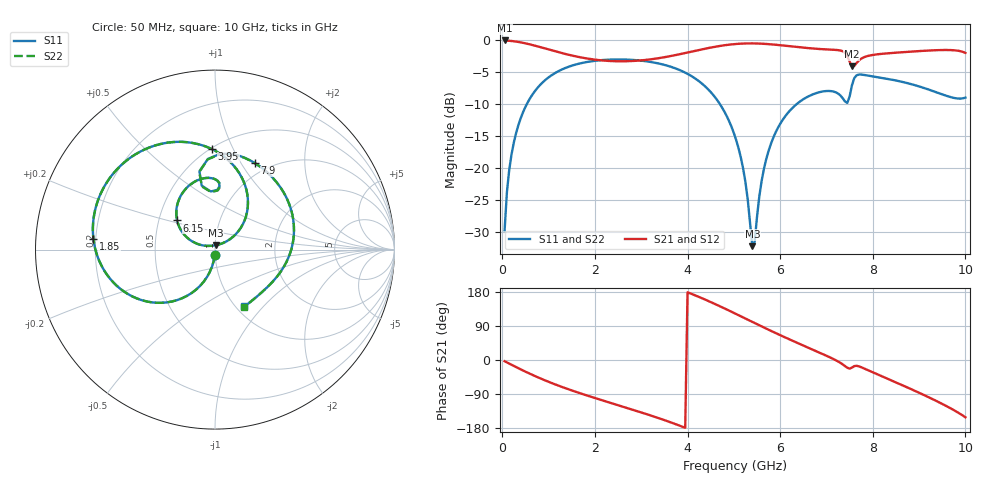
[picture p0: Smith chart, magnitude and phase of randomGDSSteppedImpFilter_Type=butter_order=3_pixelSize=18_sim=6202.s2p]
! freq	dB(S11)	phase(S11)	dB(S12)	phase(S12)
!  dB(S21)	phase(S21)	dB(S22)	phase(S22)
!S-par simulation data
#  GHz  S  DB  R 50
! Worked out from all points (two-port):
!   200 points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, 50 MHz to 10 GHz, reference 50 ohm
!   highest |S21| = -0.01 dB at 50 MHz (marker M1); lowest = -4.1 dB at 7.55 GHz (marker M2)
!   |S21| within 3 dB of the highest: 3.15 GHz to 7.483 GHz (4.333 GHz wide, 81.5 % of centre); 7.724 GHz to end of sweep (the widest 2 of 3)
!   lowest |S11| = -32.2 dB at 5.4 GHz (marker M3), VSWR 1.05, Z = 50.3 + j2.45 ohm
!   |S11| at or under -10 dB: start of sweep to 527.5 MHz; 4.702 GHz to 6.351 GHz (1.648 GHz wide, 29.8 % of centre)
!   |S22| runs from -32.1 to -3.0 dB; largest |S21 - S12| = 0
!   S11 on the Smith chart (normalised r, x): 50 MHz: 0.99, -0.07; 1.85 GHz: 0.19, +0.04; 3.95 GHz: 0.51, +0.83; 6.15 GHz: 0.62, +0.22; 7.9 GHz: 0.86, +1.15; 10 GHz: 1.09, -0.79
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0.05  -29.68 -93.4  -0.01 -3.2  -0.01 -3.2  -29.68 -93.4
0.2  -17.81 -103.2  -0.09 -12.6  -0.09 -12.6  -17.81 -103.2
0.5  -10.39 -121.3  -0.46 -30.8  -0.46 -30.8  -10.39 -121.3
1.05  -5.52 -150.5  -1.52 -60.0  -1.52 -60.0  -5.52 -150.6
1.75  -3.49 178.9  -2.73 -90.5  -2.73 -90.5  -3.49 178.9
1.85  -3.35 175.0  -2.85 -94.5  -2.85 -94.5  -3.35 175.0
3.4  -3.65 115.6  -2.75 -154.4  -2.75 -154.4  -3.65 115.6
3.95  -5.04 91.7  -1.98 -178.9  -1.98 -178.9  -5.04 91.7
4.5  -8.07 64.8  -1.12 153.0  -1.12 153.0  -8.07 64.8
5.05  -15.57 38.2  -0.56 121.4  -0.56 121.4  -15.57 38.3
5.25  -22.15 35.6  -0.48 109.5  -0.48 109.5  -22.14 35.7
5.4  -32.18 81.0  -0.47 100.5  -0.47 100.5  -32.10 81.1
5.7  -18.55 161.4  -0.56 82.8  -0.56 82.8  -18.54 161.2
6.15  -11.49 142.5  -0.86 57.2  -0.86 57.2  -11.49 142.3
6.7  -8.45 115.0  -1.26 27.5  -1.26 27.5  -8.45 114.8
7.25  -8.31 88.1  -1.52 -3.9  -1.52 -3.9  -8.32 87.7
7.45  -9.77 94.1  -2.43 -20.4  -2.43 -20.4  -9.88 93.7
7.55  -7.03 101.2  -4.06 -20.1  -4.06 -20.1  -7.12 101.5
7.9  -5.50 65.2  -2.42 -27.0  -2.42 -27.0  -5.51 65.2
8.35  -6.06 39.9  -2.00 -51.1  -2.00 -51.1  -6.06 39.8
9.25  -7.79 -8.0  -1.57 -100.8  -1.57 -100.8  -7.80 -8.3
10  -8.95 -62.7  -1.95 -151.2  -1.95 -151.2  -8.96 -63.2
